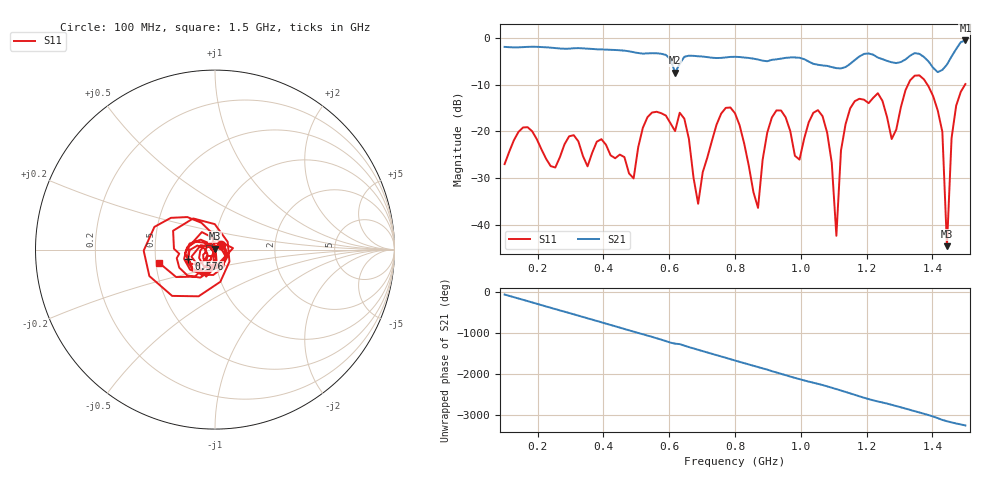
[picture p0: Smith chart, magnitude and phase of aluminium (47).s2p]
! NanoVNA-App
! Date: 2025-09-25 14:55:38
! Start: 100MHz Stop: 1,5GHz Points: 101
! S-Parameter data: F S11 S21 S12 S22
# Hz S RI R 50
!  Frequency  S11_Real  S11_Imag  S21_Real  S21_Imag  S12_Real  S12_Imag  S22_Real  S22_Imag
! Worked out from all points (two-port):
!   101 points, 100 MHz to 1.5 GHz, reference 50 ohm
!   highest |S21| = -0.54 dB at 1.5 GHz (marker M1); lowest = -7.4 dB at 618 MHz (marker M2)
!   |S21| within 3 dB of the highest: start of sweep to 584.9 MHz; 1.462 GHz to end of sweep (the widest 2 of 4)
!   lowest |S11| = -44.6 dB at 1.444 GHz (marker M3), VSWR 1.01, Z = 50 + j0.591 ohm
!   |S11| at or under -10 dB: start of sweep to 1.326 GHz; 1.385 GHz to 1.499 GHz (114.4 MHz wide, 7.94 % of centre)
!   S12 and S22 are empty: the file has one direction only
!   S11 on the Smith chart (normalised r, x): 100 MHz: 1.07, +0.06; 576 MHz: 0.74, -0.08; 1.5 GHz: 0.52, -0.08
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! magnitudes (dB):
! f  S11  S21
! 100 MHz  -27.0  -1.9
! 338 MHz  -25.3  -2.2
! 492 MHz  -30.1  -3.1
! 576 MHz  -16.1  -3.4
! 618 MHz  -19.9  -7.4
! 646 MHz  -17.3  -4.0
! 688 MHz  -35.5  -3.9
! 800 MHz  -16.1  -4.0
! 870 MHz  -36.4  -4.6
! 912 MHz  -17.0  -4.7
! 996 MHz  -26.0  -4.2
! 1.038 GHz  -16.0  -5.5
! 1.08 GHz  -20.3  -6.0
! 1.108 GHz  -42.4  -6.5
! 1.122 GHz  -24.1  -6.5
! 1.15 GHz  -15.1  -5.5
! 1.276 GHz  -21.6  -5.2
! 1.388 GHz  -10.4  -5.0
! 1.43 GHz  -20.1  -6.9
! 1.444 GHz  -44.6  -5.7
! 1.458 GHz  -21.4  -4.0
! 1.5 GHz  -9.9  -0.5
